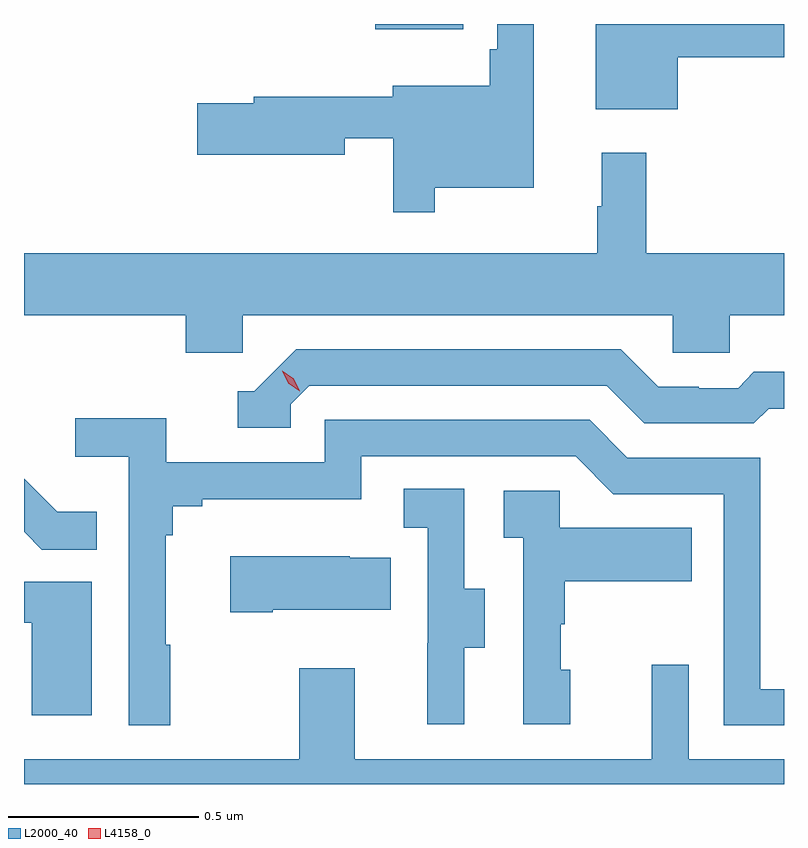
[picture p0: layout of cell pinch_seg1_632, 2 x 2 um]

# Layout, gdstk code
import gdstk
lib = gdstk.Library(unit=1e-6, precision=1e-09)
def R(c, l, rs):  # rectangles x0, y0, x1, y1
    for r in rs: c.add(gdstk.rectangle(r[:2], r[2:], *l))
def P(c, l, *ps):  # polygons
    for p in ps: c.add(gdstk.Polygon(p, *l))
L2000_40 = (2000, 40)
L4158_0 = (4158, 0)

pinch_seg1_632 = lib.new_cell('pinch_seg1_632')
R(pinch_seg1_632, L2000_40, [(1101.534,515.189,1101.766,515.203)])
P(pinch_seg1_632, L2000_40, [(1102.33,515.116),(1102.61,515.116),(1102.61,515.203),(1102.115,515.203),(1102.115,514.979),(1102.33,514.979)],
  [(1101.691,514.772),(1101.952,514.772),(1101.952,515.203),(1101.855,515.203),(1101.855,515.137),(1101.835,515.137),(1101.835,515.041),(1101.581,515.041),(1101.581,515.012),(1101.215,515.012),(1101.215,514.994),(1101.066,514.994),(1101.066,514.859),(1101.454,514.859),(1101.454,514.902),(1101.582,514.902),(1101.582,514.707),(1101.691,514.707)],
  [(1101.186,514.436),(1102.317,514.436),(1102.317,514.338),(1102.467,514.338),(1102.467,514.436),(1102.61,514.436),(1102.61,514.6),(1102.247,514.6),(1102.247,514.864),(1102.13,514.864),(1102.13,514.724),(1102.119,514.724),(1102.119,514.6),(1100.61,514.6),(1100.61,514.436),(1101.035,514.436),(1101.035,514.338),(1101.186,514.338)],
  [(1101.312,514.203),(1101.36,514.251),(1102.143,514.251),(1102.242,514.152),(1102.531,514.152),(1102.57,514.191),(1102.61,514.191),(1102.61,514.288),(1102.531,514.288),(1102.489,514.245),(1102.386,514.245),(1102.386,514.248),(1102.279,514.248),(1102.18,514.347),(1101.327,514.347),(1101.216,514.236),(1101.173,514.236),(1101.173,514.14),(1101.312,514.14)],
  [(1100.995,513.569),(1100.983,513.569),(1100.983,513.857),(1101.002,513.857),(1101.002,513.934),(1101.079,513.934),(1101.079,513.953),(1101.498,513.953),(1101.498,514.065),(1102.062,514.065),(1102.161,513.966),(1102.452,513.966),(1102.452,513.357),(1102.61,513.357),(1102.61,513.453),(1102.548,513.453),(1102.548,514.062),(1102.198,514.062),(1102.099,514.161),(1101.402,514.161),(1101.402,514.05),(1100.984,514.05),(1100.984,514.166),(1100.745,514.166),(1100.745,514.064),(1100.886,514.064),(1100.886,513.357),(1100.995,513.357)],
  [(1100.801,513.919),(1100.697,513.919),(1100.61,514.006),(1100.61,513.867),(1100.657,513.82),(1100.801,513.82)],
  [(1101.769,513.562),(1101.823,513.562),(1101.823,513.717),(1101.768,513.717),(1101.768,513.98),(1101.609,513.98),(1101.609,513.877),(1101.672,513.877),(1101.672,513.573),(1101.671,513.573),(1101.671,513.36),(1101.769,513.36)],
  [(1102.048,513.504),(1102.023,513.504),(1102.023,513.623),(1102.033,513.623),(1102.033,513.737),(1102.367,513.737),(1102.367,513.877),(1102.02,513.877),(1102.02,513.975),(1101.873,513.975),(1101.873,513.851),(1101.924,513.851),(1101.924,513.36),(1102.048,513.36)],
  [(1101.265,513.662),(1101.575,513.662),(1101.575,513.799),(1101.467,513.799),(1101.467,513.802),(1101.153,513.802),(1101.153,513.655),(1101.265,513.655)],
  [(1100.788,513.735),(1100.61,513.735),(1100.61,513.627),(1100.63,513.627),(1100.63,513.384),(1100.788,513.384)],
  [(1102.61,513.268),(1102.359,513.268),(1102.359,513.517),(1102.262,513.517),(1102.262,513.268),(1101.481,513.268),(1101.481,513.508),(1101.334,513.508),(1101.334,513.268),(1100.61,513.268),(1100.61,513.203),(1102.61,513.203)])
P(pinch_seg1_632, L4158_0, [(1101.336,514.236),(1101.305,514.257),(1101.289,514.29),(1101.289,514.29),(1101.29,514.29),(1101.32,514.27),(1101.336,514.237),(1101.336,514.236)])

lib.write_gds('pinch_seg1_632.gds')
